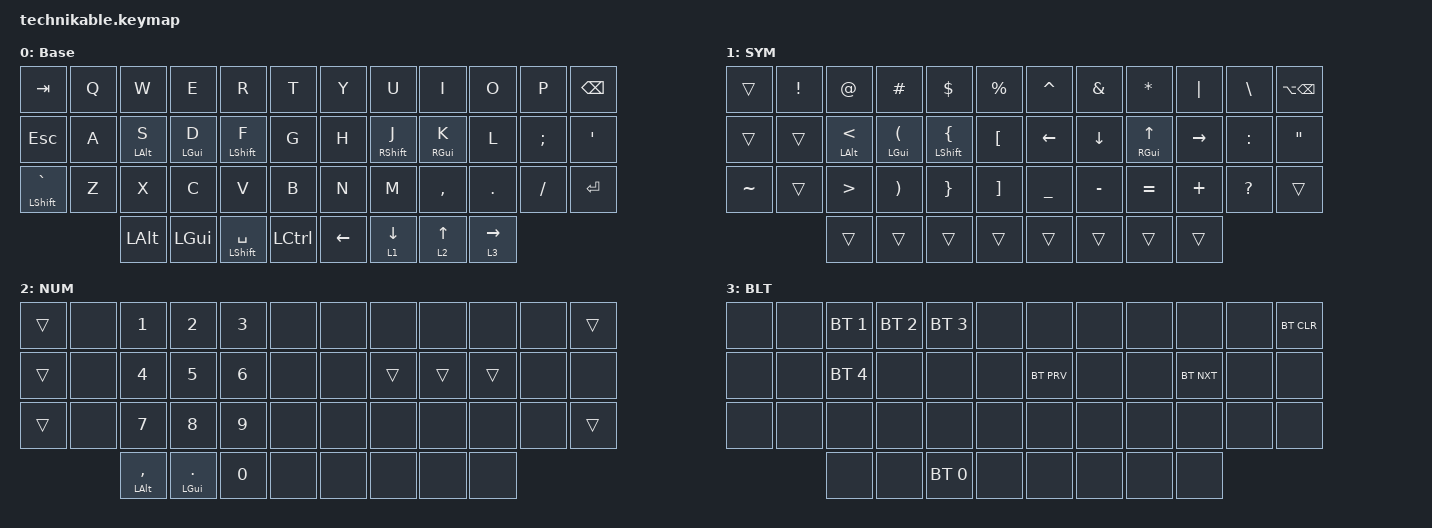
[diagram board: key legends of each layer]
/*
 * Copyright (c) 2022 Pete Johanson
 *
 * SPDX-License-Identifier: MIT
 */

#include <behaviors.dtsi>
#include <dt-bindings/zmk/bt.h>
#include <dt-bindings/zmk/keys.h>

&caps_word {
};

&mt {
    tapping-term-ms = <280>;
    require-prior-idle-ms = <150>;
    flavor = "balanced";
};

/ {
    chosen { zmk,matrix_transform = &ortho_transform; };

    conditional_layers { compatible = "zmk,conditional-layers"; };

    combos {
        compatible = "zmk,combos";

        esc {
            bindings = <&kp ESC>;
            key-positions = <14 15 16>;
        };

        ent {
            bindings = <&kp ENTER>;
            key-positions = <20 21 19>;
        };

        tab {
            bindings = <&kp TAB>;
            key-positions = <16 15>;
        };

        bspc {
            bindings = <&kp BSPC>;
            key-positions = <20 19>;
        };

        caps_word {
            bindings = <&caps_word>;
            key-positions = <16 19>;
            layers = <0>;
        };
    };

    keymap {
        compatible = "zmk,keymap";

        base_layer {
            label = "Base";
            bindings = <
&kp TAB          &kp Q  &kp W       &kp E       &kp R            &kp T                &kp Y       &kp U        &kp I        &kp O    &kp P     &kp BSPC
&kp ESC          &kp A  &mt LALT S  &mt LGUI D  &mt LSHIFT F     &kp G                &kp H       &mt RSHFT J  &mt RGUI K   &kp L    &kp SEMI  &kp SINGLE_QUOTE
&mt LSHFT GRAVE  &kp Z  &kp X       &kp C       &kp V            &kp B                &kp N       &kp M        &kp COMMA    &kp DOT  &kp FSLH  &kp ENTER
                        &kp LALT    &kp LGUI    &mt LSHFT SPACE  &kp LCTRL  &kp LEFT  &lt 1 DOWN  &lt 2 UP     &lt 3 RIGHT
            >;
        };

        sym_layer {
            label = "SYM";
            bindings = <
&trans     &kp EXCL  &kp AT       &kp HASH                   &kp DOLLAR            &kp PERCENT               &kp CARET  &kp AMPERSAND  &kp ASTRK    &kp PIPE   &kp BSLH      &kp LA(BSPC)
&trans     &trans    &mt LALT LT  &mt LGUI LEFT_PARENTHESIS  &mt LSHFT LEFT_BRACE  &kp LEFT_BRACKET          &kp LEFT   &kp DOWN       &mt RGUI UP  &kp RIGHT  &kp COLON     &kp DOUBLE_QUOTES
&kp TILDE  &trans    &kp GT       &kp RIGHT_PARENTHESIS      &kp RIGHT_BRACE       &kp RBKT                  &kp UNDER  &kp MINUS      &kp EQUAL    &kp PLUS   &kp QUESTION  &trans
                     &trans       &trans                     &trans                &trans            &trans  &trans     &trans         &trans
            >;
        };

        num_layer {
            label = "NUM";
            bindings = <
&trans  &none  &kp N1          &kp N2           &kp N3  &none         &none  &none   &none   &none   &none  &trans
&trans  &none  &kp N4          &kp N5           &kp N6  &none         &none  &trans  &trans  &trans  &none  &none
&trans  &none  &kp N7          &kp N8           &kp N9  &none         &none  &none   &none   &none   &none  &trans
               &mt LALT COMMA  &mt LGUI PERIOD  &kp N0  &none  &none  &none  &none   &none
            >;
        };

        bluetooth_layer {
            label = "BLT";
            bindings = <
&none  &none  &bt BT_SEL 1  &bt BT_SEL 2  &bt BT_SEL 3  &none         &none       &none  &none  &none       &none  &bt BT_CLR
&none  &none  &bt BT_SEL 4  &none         &none         &none         &bt BT_PRV  &none  &none  &bt BT_NXT  &none  &none
&none  &none  &none         &none         &none         &none         &none       &none  &none  &none       &none  &none
              &none         &none         &bt BT_SEL 0  &none  &none  &none       &none  &none
            >;
        };
    };
};
